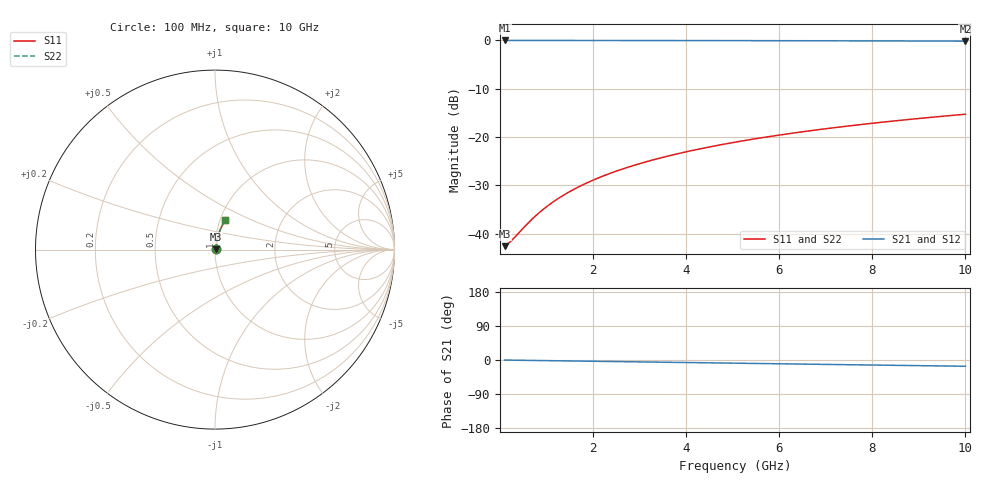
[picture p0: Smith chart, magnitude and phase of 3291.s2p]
# Hz S RI R 50.00
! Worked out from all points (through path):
!   100 points, 100 MHz to 10 GHz, reference 50 ohm
!   highest |S21| = -0.06 dB at 100 MHz (marker M1); lowest = -0.2 dB at 10 GHz (marker M2)
!   group delay of S21, straight-line fit = 4.6 ps
!   lowest |S11| = -42.5 dB at 100 MHz (marker M3), VSWR 1.02, Z = 50.7 + j0.176 ohm
!   |S11| at or under -10 dB: start of sweep to end of sweep
!   |S22| runs from -42.5 to -15.3 dB; largest |S21 - S12| = 0
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1e8  0.00727 0.00173  0.9927 -0.00289  0.9927 -0.00289  0.00727 0.00173
2e8  0.00734 0.00347  0.9927 -0.00577  0.9927 -0.00577  0.00734 0.00347
3e8  0.0074 0.0052  0.9926 -0.00866  0.9926 -0.00866  0.0074 0.0052
5e8  0.00753 0.00867  0.9924 -0.0144  0.9924 -0.0144  0.00753 0.00867
7e8  0.00769 0.0121  0.9923 -0.0202  0.9923 -0.0202  0.00769 0.0121
8e8  0.00778 0.0139  0.9922 -0.0231  0.9922 -0.0231  0.00778 0.0139
1e9  0.00799 0.0173  0.9919 -0.0288  0.9919 -0.0288  0.00799 0.0173
1.2e9  0.00824 0.0208  0.9916 -0.0346  0.9916 -0.0346  0.00824 0.0208
1.4e9  0.00853 0.0242  0.9913 -0.0404  0.9913 -0.0404  0.00853 0.0242
1.6e9  0.00885 0.0277  0.991 -0.0461  0.991 -0.0461  0.00885 0.0277
1.8e9  0.00922 0.0311  0.9905 -0.0519  0.9905 -0.0519  0.00922 0.0311
2.1e9  0.00983 0.0363  0.9898 -0.0605  0.9898 -0.0605  0.00983 0.0363
2.5e9  0.0108 0.0431  0.9888 -0.072  0.9888 -0.072  0.0108 0.0431
2.9e9  0.0119 0.05  0.9875 -0.0834  0.9875 -0.0834  0.0119 0.05
3.4e9  0.0135 0.0585  0.9857 -0.0977  0.9857 -0.0977  0.0135 0.0585
4.2e9  0.0166 0.0719  0.9822 -0.1204  0.9822 -0.1204  0.0166 0.0719
5.1e9  0.0208 0.0869  0.9774 -0.1457  0.9774 -0.1457  0.0208 0.0869
5.9e9  0.0252 0.0999  0.9724 -0.168  0.9724 -0.168  0.0252 0.0999
6.7e9  0.0301 0.1127  0.9668 -0.1901  0.9668 -0.1901  0.0301 0.1127
7.5e9  0.0357 0.1253  0.9605 -0.2119  0.9605 -0.2119  0.0357 0.1253
8.4e9  0.0425 0.139  0.9526 -0.2361  0.9526 -0.2361  0.0425 0.139
1e10  0.0564 0.1624  0.9367 -0.2781  0.9367 -0.2781  0.0564 0.1624
